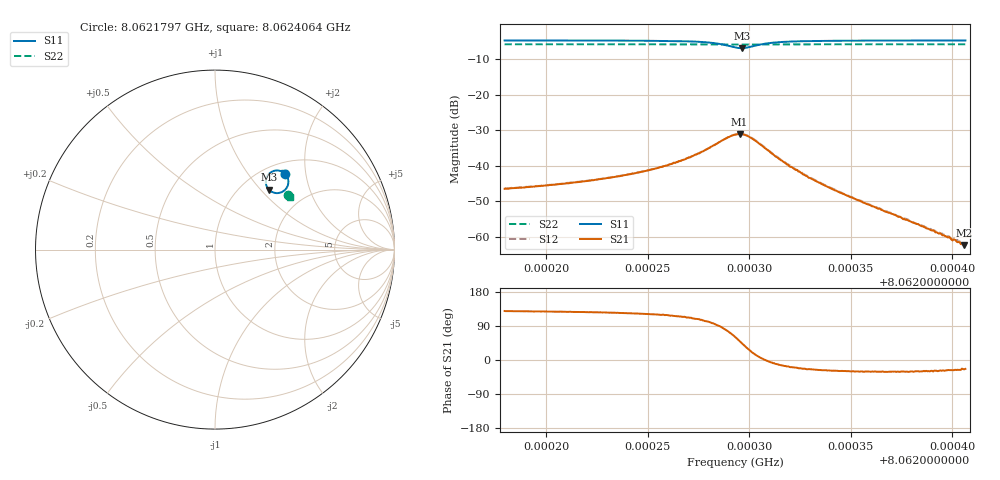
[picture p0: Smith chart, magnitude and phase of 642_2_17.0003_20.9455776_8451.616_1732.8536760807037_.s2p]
#  HZ  S  RI  R  50.00
! Rohde & Schwarz Vector Network Analyzer
! Rohde-Schwarz,ZNB20-2Port,1311601062101988,3.16
! Created: UTC 3/20/2024, 11:20:53 PM
! freq[Hz]  re:S11  im:S11  re:S21  im:S21  re:S12  im:S12  re:S22  im:S22
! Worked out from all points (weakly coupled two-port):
!   401 points, 8.0621797 GHz to 8.0624064 GHz, reference 50 ohm
!   highest |S21| = -31.10 dB at 8.0622953 GHz (marker M1); lowest = -62.3 dB at 8.0624058 GHz (marker M2)
!   lowest |S11| = -7.0 dB at 8.0622964 GHz (marker M3), VSWR 2.63, Z = 66.6 + j55.6 ohm
!   |S11| at or under -10 dB: nowhere
!   |S22| runs from -6.0 to -5.9 dB; largest |S21 - S12| = 0.0014
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8.06217968e9  0.3906 0.4229  -0.00299 0.00365  -0.00277 0.00392  0.4092 0.3015
8.06220348e9  0.3939 0.4194  -0.00328 0.00426  -0.00305 0.00447  0.4102 0.3001
8.06221765e9  0.3961 0.4164  -0.00355 0.00479  -0.0033 0.00505  0.4107 0.2995
8.06223635e9  0.3999 0.4107  -0.004 0.00587  -0.00368 0.00616  0.4115 0.2982
8.06225562e9  0.4051 0.3997  -0.00464 0.00818  -0.00416 0.00847  0.4123 0.2968
8.06226978e9  0.4088 0.3825  -0.00486 0.0119  -0.00413 0.0121  0.4126 0.2954
8.06228168e9  0.4023 0.3499  -0.00238 0.0185  -0.00158 0.0187  0.4123 0.2935
8.06228735e9  0.3819 0.3261  0.00255 0.023  0.00389 0.0227  0.4115 0.2925
8.06229302e9  0.3337 0.3158  0.0132 0.0238  0.0143 0.0232  0.4093 0.2923
8.06229528e9  0.3111 0.3251  0.018 0.0213  0.0189 0.0206  0.4086 0.293
8.06229642e9  0.301 0.3333  0.0199 0.0191  0.0208 0.0184  0.4084 0.2933
8.06230095e9  0.2826 0.3767  0.0227 0.00928  0.0234 0.00855  0.4082 0.2951
8.06230888e9  0.3053 0.4261  0.0167 -0.000628  0.0168 -0.00169  0.4102 0.2967
8.06231908e9  0.3359 0.4402  0.0099 -0.00299  0.00978 -0.0037  0.412 0.2964
8.06233098e9  0.3547 0.4404  0.00584 -0.00272  0.0058 -0.0031  0.4131 0.2956
8.06235252e9  0.3701 0.4361  0.00289 -0.00168  0.00278 -0.0019  0.4144 0.2942
8.06236895e9  0.376 0.4334  0.00186 -0.00112  0.00181 -0.00123  0.4153 0.2933
8.06239729e9  0.3823 0.4297  0.000881 -0.000453  0.000856 -0.000538  0.4163 0.2915
8.06240012e9  0.3828 0.4294  0.000791 -0.000399  0.000789 -0.000471  0.4165 0.2914
8.06240352e9  0.3835 0.429  0.000751 -0.000368  0.000748 -0.000425  0.4164 0.2912
8.06240579e9  0.3838 0.4287  0.000696 -0.000319  0.00067 -0.000348  0.4165 0.291
8.06240635e9  0.3839 0.4287  0.000703 -0.000305  0.000657 -0.000331  0.4166 0.291
